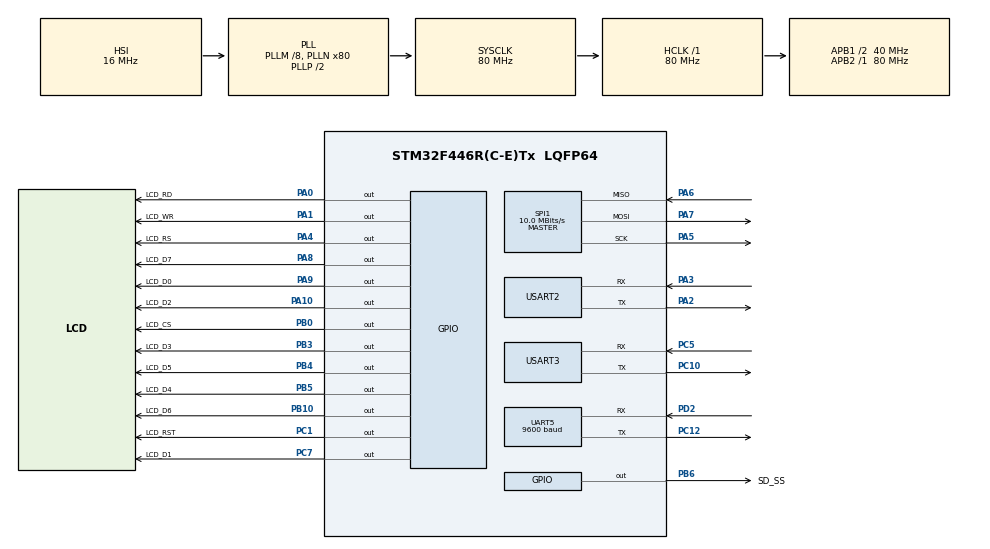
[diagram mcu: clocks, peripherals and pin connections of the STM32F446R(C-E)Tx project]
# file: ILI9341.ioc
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FATFS._MAX_SS=4096
FATFS._USE_LFN=1
Mcu.Family=STM32F4
Mcu.Name=STM32F446R(C-E)Tx
Mcu.Package=LQFP64
NVIC.PriorityGroup=NVIC_PRIORITYGROUP_4
NVIC.UART5_IRQn=true\:0\:0\:false\:false\:true\:true\:true\:true
NVIC.USART2_IRQn=true\:0\:0\:false\:false\:true\:true\:true\:true
NVIC.USART3_IRQn=true\:0\:0\:false\:false\:true\:true\:true\:true
PA0-WKUP.GPIO_Label=LCD_RD
PA0-WKUP.GPIO_Speed=GPIO_SPEED_FREQ_HIGH
PA0-WKUP.Signal=GPIO_Output
PA1.GPIO_Label=LCD_WR
PA1.GPIO_Speed=GPIO_SPEED_FREQ_HIGH
PA1.Signal=GPIO_Output
PA10.GPIO_Label=LCD_D2
PA10.GPIO_Speed=GPIO_SPEED_FREQ_HIGH
PA10.Signal=GPIO_Output
PA13.Mode=Serial_Wire
PA13.Signal=SYS_JTMS-SWDIO
PA14.Mode=Serial_Wire
PA14.Signal=SYS_JTCK-SWCLK
PA2.Mode=Asynchronous
PA2.Signal=USART2_TX
PA3.Mode=Asynchronous
PA3.Signal=USART2_RX
PA4.GPIO_Label=LCD_RS
PA4.GPIO_Speed=GPIO_SPEED_FREQ_HIGH
PA4.Signal=GPIO_Output
PA5.Mode=Full_Duplex_Master
PA5.Signal=SPI1_SCK
PA6.Mode=Full_Duplex_Master
PA6.Signal=SPI1_MISO
PA7.Mode=Full_Duplex_Master
PA7.Signal=SPI1_MOSI
PA8.GPIO_Label=LCD_D7
PA8.GPIO_Speed=GPIO_SPEED_FREQ_HIGH
PA8.Signal=GPIO_Output
PA9.GPIO_Label=LCD_D0
PA9.GPIO_Speed=GPIO_SPEED_FREQ_HIGH
PA9.Signal=GPIO_Output
PB0.GPIO_Label=LCD_CS
PB0.GPIO_Speed=GPIO_SPEED_FREQ_HIGH
PB0.Signal=GPIO_Output
PB10.GPIO_Label=LCD_D6
PB10.GPIO_Speed=GPIO_SPEED_FREQ_HIGH
PB10.Signal=GPIO_Output
PB3.GPIO_Label=LCD_D3
PB3.GPIO_Speed=GPIO_SPEED_FREQ_HIGH
PB3.Signal=GPIO_Output
PB4.GPIO_Label=LCD_D5
PB4.GPIO_Speed=GPIO_SPEED_FREQ_HIGH
PB4.Signal=GPIO_Output
PB5.GPIO_Label=LCD_D4
PB5.GPIO_Speed=GPIO_SPEED_FREQ_HIGH
PB5.Signal=GPIO_Output
PB6.GPIO_Label=SD_SS
PB6.GPIO_Speed=GPIO_SPEED_FREQ_MEDIUM
PB6.PinState=GPIO_PIN_SET
PB6.Signal=GPIO_Output
PC1.GPIO_Label=LCD_RST
PC1.GPIO_Speed=GPIO_SPEED_FREQ_HIGH
PC1.Signal=GPIO_Output
PC10.Mode=Asynchronous
PC10.Signal=USART3_TX
PC12.Mode=Asynchronous
PC12.Signal=UART5_TX
PC5.Mode=Asynchronous
PC5.Signal=USART3_RX
PC7.GPIO_Label=LCD_D1
PC7.GPIO_Speed=GPIO_SPEED_FREQ_HIGH
PC7.Signal=GPIO_Output
PD2.Mode=Asynchronous
PD2.Signal=UART5_RX
PH0-OSC_IN.Mode=HSE-External-Oscillator
PH0-OSC_IN.Signal=RCC_OSC_IN
PH1-OSC_OUT.Mode=HSE-External-Oscillator
PH1-OSC_OUT.Signal=RCC_OSC_OUT
ProjectManager.HeapSize=0x200
ProjectManager.StackSize=0x400
ProjectManager.TargetToolchain=STM32CubeIDE
RCC.AHBFreq_Value=80000000
RCC.APB1CLKDivider=RCC_HCLK_DIV2
RCC.APB1Freq_Value=40000000
RCC.APB1TimFreq_Value=80000000
RCC.APB2Freq_Value=80000000
RCC.APB2TimFreq_Value=80000000
RCC.CortexFreq_Value=80000000
RCC.HCLKFreq_Value=80000000
RCC.PLLM=8
RCC.PLLN=80
RCC.SYSCLKFreq_VALUE=80000000
RCC.SYSCLKSource=RCC_SYSCLKSOURCE_PLLCLK
RCC.USBFreq_Value=80000000
RCC.VCOOutputFreq_Value=160000000
SPI1.BaudRatePrescaler=SPI_BAUDRATEPRESCALER_8
SPI1.CalculateBaudRate=10.0 MBits/s
SPI1.Direction=SPI_DIRECTION_2LINES
SPI1.Mode=SPI_MODE_MASTER
SPI1.VirtualType=VM_MASTER
UART5.BaudRate=9600
UART5.VirtualMode=Asynchronous
USART2.VirtualMode=VM_ASYNC
USART3.VirtualMode=VM_ASYNC
VP_FATFS_VS_Generic.Mode=User_defined
board=custom

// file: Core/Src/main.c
/* USER CODE BEGIN Header */
/**
 ******************************************************************************
 * @file           : main.c
 * @brief          : Main program body
 ******************************************************************************
 * @attention
 *
 * Copyright (c) 2024 STMicroelectronics.
 * All rights reserved.
 *
 * This software is licensed under terms that can be found in the LICENSE file
 * in the root directory of this software component.
 * If no LICENSE file comes with this software, it is provided AS-IS.
 *
 ******************************************************************************
 */
/* USER CODE END Header */
#include "main.h"
#include "fatfs.h"

/* USER CODE BEGIN Includes */
#include "ili9341.h"
#include "bitmaps.h"
#include "string.h"
#include "stdio.h"
/* USER CODE END Includes */

/* USER CODE BEGIN PD */
SPI_HandleTypeDef hspi1;
FATFS fs;
FATFS *pfs;
FIL fil;
FRESULT fres;
/* USER CODE END PD */

SPI_HandleTypeDef hspi1;

UART_HandleTypeDef huart5;
UART_HandleTypeDef huart2;
UART_HandleTypeDef huart3;

/* USER CODE BEGIN PV */
uint8_t option[1];
uint8_t tx_buffer[20];
extern uint8_t fondo[];
int incremento = 0;
int y_incre = 0;
int decremento = 1;
int wh1 = 0;
int wh2 = 0;
int win = 0;
int lo = 0;

#define IMAGE_SIZE 9968 //
uint8_t image[IMAGE_SIZE];  // Variable para almacenar los datos de la imagen

#define IMAGE_SIZE2 12716 //
uint8_t image2[IMAGE_SIZE2];  // Variable para almacenar los datos de la imagen
/* USER CODE END PV */

void SystemClock_Config(void);
static void MX_GPIO_Init(void);
static void MX_SPI1_Init(void);
static void MX_USART2_UART_Init(void);
static void MX_USART3_UART_Init(void);
static void MX_UART5_Init(void);

/* USER CODE BEGIN 0 */
int load_image_from_sd_to_play(const char* filename);
int load_image_from_sd_to_play2(const char* filename);
/* USER CODE END 0 */

int main(void)
{

  /* USER CODE BEGIN 1 */
int time = 0;
int time1 = -160;

int uni = 0;
int dec = 0;

int b = 0;

int y = -30;
int y1 = 40;
int yp = 110;

int z = 0;
int i = 0;

int GO = 0;
int punt = 0;

int posu[11] = {-50,-25,-10,50 ,-30,0  ,15,-50 ,10,35, -50};
int posd[11] = {20 ,50 ,10 ,-20,10,-40,-30,-10,50,-30,50};

// Montar SD

   fres = f_mount(&fs,"/" , 0);
   if(fres == FR_OK){
   //   transmit_uart("Micro SD is mounted successfully\n\n\n\n");
   } else {
    //   transmit_uart("Micro SD is mounted bad\n\n\n\n");
	   }

  /* USER CODE END 1 */

  /* MCU Configuration--------------------------------------------------------*/

  /* Reset of all peripherals, Initializes the Flash interface and the Systick. */
  HAL_Init();

  /* Configure the system clock */
  SystemClock_Config();

  /* Initialize all configured peripherals */
  MX_GPIO_Init();
  MX_SPI1_Init();
  MX_USART2_UART_Init();
  MX_USART3_UART_Init();
  MX_FATFS_Init();
  MX_UART5_Init();
  /* USER CODE BEGIN 2 */
  HAL_UART_Receive_IT(&huart3, option, 1);  // EMPEZAR RECEPCIÓN
  HAL_UART_Receive_IT(&huart5, option, 1);  // EMPEZAR RECEPCIÓN

	LCD_Init();

	LCD_Clear(0x00);
	FillRect(0, 0, 319, 239, 0x0000);

	LCD_Sprite(68, 20, 184, 50, titulo1, 1, 0, 0, 1);
	LCD_Sprite(68, 110, 184, 50, titulo2, 1, 0, 0, 1);
	LCD_Sprite(100, 190, 116, 20, titulo3, 1, 0, 0, 1);

	  //LCD_Print("FUCK YOU BITCH", 20, 100, 1, 0x001F, 0xCAB9);

  /* USER CODE END 2 */

  /* Infinite loop */
  /* USER CODE BEGIN WHILE */
	while (1) {
		// Aumentar la velocidad de las tuberías

		while(wh1 == 1){

				LCD_Sprite(15, 30, 290, 25, cuan, 1, 0, 0, 1);
				LCD_Sprite(10, 110, 232, 12, p1, 1, 0, 0, 1);
				LCD_Sprite(10, 160, 285, 12, p2, 1, 0, 0, 1);

				while(wh2 == 1){
					wh1 = 0;
					time = time + 5;  // Incremento ajustado para mayor velocidad
					time1 = time1 + 5;  // Incremento ajustado para mayor velocidad

					b++;

					// TUBERIA
					FillRect(330-time, 151-y, 5, 90+y, 0x07E0);
					FillRect(330-time, 161-y, 5, 5, 0x0000);
					FillRect(365-time, 151-y, 5, 90+y, 0x0000);

					FillRect(330-time, 0, 5, 75-y, 0x07E0);
					FillRect(330-time, 60-y, 5, 5, 0x0000);
					FillRect(365-time, 0, 5, 75-y, 0x0000);

					FillRect(330-time1, 151-y1, 5, 90+y1, 0x07E0);
					FillRect(330-time1, 161-y1, 5, 5, 0x0000);
					FillRect(365-time1, 151-y1, 5, 90+y1, 0x0000);

					FillRect(330-time1, 0, 5, 75-y1, 0x07E0);
					FillRect(330-time1, 60-y1, 5, 5, 0x0000);
					FillRect(365-time1, 0, 5, 75-y1, 0x0000);
					// Reiniciar las tuberías cuando ya no se vean en la pantalla
					if(time >= 375){  // Ajuste del valor límite para evitar cortes
						time = 0;  // Reiniciar de forma continua y suave
						i++;
					y = posu[i];
					};

					if(time1 >= 375){  // Ajuste del valor límite para evitar cortes
						time1 = 0;  // Reiniciar de forma continua y suave
						z++;
						y1 = posd[z];
					};
					if(i == 10){
						i = 0;
					};
					if(z == 10){
						z = 0;
					};
									// Control de la animación del pájaro
					if(b == 2){
						b = 0;
					};

					LCD_Sprite(75, yp, 40, 30, bird40x30, 3, b, 0, 1);

					yp = yp+incremento;
										if(y_incre == 1){
											incremento++;

											if (decremento == 0){
												FillRect(75, yp+30, 40, 15, 0x0000);
											}else if (decremento == 1){
												FillRect(75, yp-30, 40, 27, 0x0000);
											}
											if(incremento == 0){
												decremento = 1;
											}
											if(yp >= 183){
												incremento = 0;
												y_incre = 0;
												yp = 183;
											}
										}

					// Detectar cuando las tuberías están en la misma posición que el pájaro
					if(time == 275){
						uni = uni + 1;
						transmit_uart3("s");
					};
					if(time1 == 275){
						uni = uni + 1;
					};
					if(uni == 10){
						uni = 0;
						dec = dec + 1;
					};
					LCD_Sprite(276, 0, 26, 39, num26x39, 10, uni, 0, 1);
					LCD_Sprite(250, 0, 26, 39, num26x39, 10, dec, 0, 1);

					if(time <= 245 && time >= 215 ){
						if(yp <= (60-y) || yp >= (170+y)){

							GO = 1;
							punt = uni + dec*10;

							wh2 = 0;
						};
					};
					if(time1 <= 245 && time1 >= 215 ){
						if(yp <= (60-y1) || yp >= (170+y1)){

							punt = uni + dec*10;
							GO = 1;
							wh2 = 0;
						};
					};
				}
		}
		if(GO == 1){
			FillRect(0, 0, 319, 239, 0x0000);
			switch (punt) {
										        case 0:
										            transmit_uart3("M: 0");
										            break;
										        case 1:
										            transmit_uart3("M: 1");
										            break;
										        case 2:
										            transmit_uart3("M: 2");
										            break;
										        case 3:
										            transmit_uart3("M: 3");
										            break;
										        case 4:
										            transmit_uart3("M: 4");
										            break;
										        case 5:
										            transmit_uart3("M: 5");
										            break;
										        case 6:
										            transmit_uart3("M: 6");
										            break;
										        case 7:
										            transmit_uart3("M: 7");
										            break;
										        case 8:
										            transmit_uart3("M: 8");
										            break;
										        case 9:
										            transmit_uart3("M: 9");
										            break;
										        case 10:
										            transmit_uart3("M: 10");
										            break;
										        case 11:
										            transmit_uart3("M: 11");
										            break;
										        case 12:
										            transmit_uart3("M: 12");
										            break;
										        case 13:
										            transmit_uart3("M: 13");
										            break;
										        case 14:
										            transmit_uart3("M: 14");
										            break;
										        case 15:
										            transmit_uart3("M: 15");
										            break;
										        case 16:
										            transmit_uart3("M: 16");
										            break;
										        case 17:
										            transmit_uart3("M: 17");
										            break;
										        case 18:
										            transmit_uart3("M: 18");
										            break;
										        case 19:
										            transmit_uart3("M: 19");
										            break;
										        case 20:
										            transmit_uart3("M: 20");
										            break;
										        case 21:
										            transmit_uart3("M: 21");
										            break;
										        case 22:
										            transmit_uart3("M: 22");
										            break;
										        case 23:
										            transmit_uart3("M: 23");
										            break;
										        case 24:
										            transmit_uart3("M: 24");
										            break;
										        case 25:
										            transmit_uart3("M: 25");
										            break;
										        case 26:
										            transmit_uart3("M: 26");
										            break;
										        case 27:
										            transmit_uart3("M: 27");
										            break;
										        case 28:
										            transmit_uart3("M: 28");
										            break;
										        case 29:
										            transmit_uart3("M: 29");
										            break;
										        case 30:
										        	transmit_uart3("M: 30");
										            break;
										        default:
										            break;
			}
			GO = 0;
		};
		if(win == 1){
			 if (load_image_from_sd_to_play("winner.bin")) {
				LCD_Sprite(71, 106, 178, 28, image, 1, 0, 0, 1);
				}
		};
		if(lo == 1){
			 if (load_image_from_sd_to_play2("loser.bin")) {
				LCD_Sprite(66, 103, 187, 34, image2, 1, 0, 0, 1);
			 	 }
		};
    /* USER CODE END WHILE */

  }
}

void SystemClock_Config(void)
{
  RCC_OscInitTypeDef RCC_OscInitStruct = {0};
  RCC_ClkInitTypeDef RCC_ClkInitStruct = {0};

  /** Configure the main internal regulator output voltage
  */
  __HAL_RCC_PWR_CLK_ENABLE();
  __HAL_PWR_VOLTAGESCALING_CONFIG(PWR_REGULATOR_VOLTAGE_SCALE3);

  /** Initializes the RCC Oscillators according to the specified parameters
  * in the RCC_OscInitTypeDef structure.
  */
  RCC_OscInitStruct.OscillatorType = RCC_OSCILLATORTYPE_HSI;
  RCC_OscInitStruct.HSIState = RCC_HSI_ON;
  RCC_OscInitStruct.HSICalibrationValue = RCC_HSICALIBRATION_DEFAULT;
  RCC_OscInitStruct.PLL.PLLState = RCC_PLL_ON;
  RCC_OscInitStruct.PLL.PLLSource = RCC_PLLSOURCE_HSI;
  RCC_OscInitStruct.PLL.PLLM = 8;
  RCC_OscInitStruct.PLL.PLLN = 80;
  RCC_OscInitStruct.PLL.PLLP = RCC_PLLP_DIV2;
  RCC_OscInitStruct.PLL.PLLQ = 2;
  RCC_OscInitStruct.PLL.PLLR = 2;
  if (HAL_RCC_OscConfig(&RCC_OscInitStruct) != HAL_OK)
  {
    Error_Handler();
  }

  /** Initializes the CPU, AHB and APB buses clocks
  */
  RCC_ClkInitStruct.ClockType = RCC_CLOCKTYPE_HCLK|RCC_CLOCKTYPE_SYSCLK
                              |RCC_CLOCKTYPE_PCLK1|RCC_CLOCKTYPE_PCLK2;
  RCC_ClkInitStruct.SYSCLKSource = RCC_SYSCLKSOURCE_PLLCLK;
  RCC_ClkInitStruct.AHBCLKDivider = RCC_SYSCLK_DIV1;
  RCC_ClkInitStruct.APB1CLKDivider = RCC_HCLK_DIV2;
  RCC_ClkInitStruct.APB2CLKDivider = RCC_HCLK_DIV1;

  if (HAL_RCC_ClockConfig(&RCC_ClkInitStruct, FLASH_LATENCY_2) != HAL_OK)
  {
    Error_Handler();
  }
}

static void MX_SPI1_Init(void)
{

  /* SPI1 parameter configuration*/
  hspi1.Instance = SPI1;
  hspi1.Init.Mode = SPI_MODE_MASTER;
  hspi1.Init.Direction = SPI_DIRECTION_2LINES;
  hspi1.Init.DataSize = SPI_DATASIZE_8BIT;
  hspi1.Init.CLKPolarity = SPI_POLARITY_LOW;
  hspi1.Init.CLKPhase = SPI_PHASE_1EDGE;
  hspi1.Init.NSS = SPI_NSS_SOFT;
  hspi1.Init.BaudRatePrescaler = SPI_BAUDRATEPRESCALER_8;
  hspi1.Init.FirstBit = SPI_FIRSTBIT_MSB;
  hspi1.Init.TIMode = SPI_TIMODE_DISABLE;
  hspi1.Init.CRCCalculation = SPI_CRCCALCULATION_DISABLE;
  hspi1.Init.CRCPolynomial = 10;
  if (HAL_SPI_Init(&hspi1) != HAL_OK)
  {
    Error_Handler();
  }

}

static void MX_UART5_Init(void)
{

  huart5.Instance = UART5;
  huart5.Init.BaudRate = 9600;
  huart5.Init.WordLength = UART_WORDLENGTH_8B;
  huart5.Init.StopBits = UART_STOPBITS_1;
  huart5.Init.Parity = UART_PARITY_NONE;
  huart5.Init.Mode = UART_MODE_TX_RX;
  huart5.Init.HwFlowCtl = UART_HWCONTROL_NONE;
  huart5.Init.OverSampling = UART_OVERSAMPLING_16;
  if (HAL_UART_Init(&huart5) != HAL_OK)
  {
    Error_Handler();
  }

}

static void MX_USART2_UART_Init(void)
{

  huart2.Instance = USART2;
  huart2.Init.BaudRate = 9600;
  huart2.Init.WordLength = UART_WORDLENGTH_8B;
  huart2.Init.StopBits = UART_STOPBITS_1;
  huart2.Init.Parity = UART_PARITY_NONE;
  huart2.Init.Mode = UART_MODE_TX_RX;
  huart2.Init.HwFlowCtl = UART_HWCONTROL_NONE;
  huart2.Init.OverSampling = UART_OVERSAMPLING_16;
  if (HAL_UART_Init(&huart2) != HAL_OK)
  {
    Error_Handler();
  }

}

static void MX_USART3_UART_Init(void)
{

  huart3.Instance = USART3;
  huart3.Init.BaudRate = 9600;
  huart3.Init.WordLength = UART_WORDLENGTH_8B;
  huart3.Init.StopBits = UART_STOPBITS_1;
  huart3.Init.Parity = UART_PARITY_NONE;
  huart3.Init.Mode = UART_MODE_TX_RX;
  huart3.Init.HwFlowCtl = UART_HWCONTROL_NONE;
  huart3.Init.OverSampling = UART_OVERSAMPLING_16;
  if (HAL_UART_Init(&huart3) != HAL_OK)
  {
    Error_Handler();
  }

}

static void MX_GPIO_Init(void)
{
  GPIO_InitTypeDef GPIO_InitStruct = {0};

  /* GPIO Ports Clock Enable */
  __HAL_RCC_GPIOH_CLK_ENABLE();
  __HAL_RCC_GPIOC_CLK_ENABLE();
  __HAL_RCC_GPIOA_CLK_ENABLE();
  __HAL_RCC_GPIOB_CLK_ENABLE();
  __HAL_RCC_GPIOD_CLK_ENABLE();

  /*Configure GPIO pin Output Level */
  HAL_GPIO_WritePin(GPIOC, LCD_RST_Pin|LCD_D1_Pin, GPIO_PIN_RESET);

  /*Configure GPIO pin Output Level */
  HAL_GPIO_WritePin(GPIOA, LCD_RD_Pin|LCD_WR_Pin|LCD_RS_Pin|LCD_D7_Pin
                          |LCD_D0_Pin|LCD_D2_Pin, GPIO_PIN_RESET);

  /*Configure GPIO pin Output Level */
  HAL_GPIO_WritePin(GPIOB, LCD_CS_Pin|LCD_D6_Pin|LCD_D3_Pin|LCD_D5_Pin
                          |LCD_D4_Pin, GPIO_PIN_RESET);

  /*Configure GPIO pin Output Level */
  HAL_GPIO_WritePin(SD_SS_GPIO_Port, SD_SS_Pin, GPIO_PIN_SET);

  /*Configure GPIO pins : LCD_RST_Pin LCD_D1_Pin */
  GPIO_InitStruct.Pin = LCD_RST_Pin|LCD_D1_Pin;
  GPIO_InitStruct.Mode = GPIO_MODE_OUTPUT_PP;
  GPIO_InitStruct.Pull = GPIO_NOPULL;
  GPIO_InitStruct.Speed = GPIO_SPEED_FREQ_HIGH;
  HAL_GPIO_Init(GPIOC, &GPIO_InitStruct);

  /*Configure GPIO pins : LCD_RD_Pin LCD_WR_Pin LCD_RS_Pin LCD_D7_Pin
                           LCD_D0_Pin LCD_D2_Pin */
  GPIO_InitStruct.Pin = LCD_RD_Pin|LCD_WR_Pin|LCD_RS_Pin|LCD_D7_Pin
                          |LCD_D0_Pin|LCD_D2_Pin;
  GPIO_InitStruct.Mode = GPIO_MODE_OUTPUT_PP;
  GPIO_InitStruct.Pull = GPIO_NOPULL;
  GPIO_InitStruct.Speed = GPIO_SPEED_FREQ_HIGH;
  HAL_GPIO_Init(GPIOA, &GPIO_InitStruct);

  /*Configure GPIO pins : LCD_CS_Pin LCD_D6_Pin LCD_D3_Pin LCD_D5_Pin
                           LCD_D4_Pin */
  GPIO_InitStruct.Pin = LCD_CS_Pin|LCD_D6_Pin|LCD_D3_Pin|LCD_D5_Pin
                          |LCD_D4_Pin;
  GPIO_InitStruct.Mode = GPIO_MODE_OUTPUT_PP;
  GPIO_InitStruct.Pull = GPIO_NOPULL;
  GPIO_InitStruct.Speed = GPIO_SPEED_FREQ_HIGH;
  HAL_GPIO_Init(GPIOB, &GPIO_InitStruct);

  /*Configure GPIO pin : SD_SS_Pin */
  GPIO_InitStruct.Pin = SD_SS_Pin;
  GPIO_InitStruct.Mode = GPIO_MODE_OUTPUT_PP;
  GPIO_InitStruct.Pull = GPIO_NOPULL;
  GPIO_InitStruct.Speed = GPIO_SPEED_FREQ_MEDIUM;
  HAL_GPIO_Init(SD_SS_GPIO_Port, &GPIO_InitStruct);

}

/* USER CODE BEGIN 4 */
int load_image_from_sd_to_play(const char* filename) {
    FIL fil;
    UINT bytes_read;
    FRESULT fres;

    // Abrir el archivo desde la SD
    fres = f_open(&fil, filename, FA_READ);
    if (fres != FR_OK) {
      //  transmit_uart("Error al abrir el archivo en la SD\n");
        return 0;  // Error al abrir el archivo
    }

    // Leer los datos del archivo y almacenarlos en la variable play
    fres = f_read(&fil, image, IMAGE_SIZE, &bytes_read);
    if (fres != FR_OK || bytes_read == 0) {
      //  transmit_uart("Error al leer la imagen desde la SD\n");
        f_close(&fil);
        return 0;  // Error al leer el archivo
    }

    // Cerrar el archivo
    f_close(&fil);
   // transmit_uart("Imagen cargada correctamente desde la SD a la variable play\n");
    return 1;
}
int load_image_from_sd_to_play2(const char* filename) {
    FIL fil;
    UINT bytes_read;
    FRESULT fres;

    // Abrir el archivo desde la SD
    fres = f_open(&fil, filename, FA_READ);
    if (fres != FR_OK) {
      //  transmit_uart("Error al abrir el archivo en la SD\n");
        return 0;  // Error al abrir el archivo
    }

    // Leer los datos del archivo y almacenarlos en la variable play
    fres = f_read(&fil, image2, IMAGE_SIZE2, &bytes_read);
    if (fres != FR_OK || bytes_read == 0) {
      //  transmit_uart("Error al leer la imagen desde la SD\n");
        f_close(&fil);
        return 0;  // Error al leer el archivo
    }

    // Cerrar el archivo
    f_close(&fil);
   // transmit_uart("Imagen cargada correctamente desde la SD a la variable play\n");
    return 1;
}

void transmit_uart3(char *message){
	HAL_UART_Transmit(&huart3, (uint8_t*)message, strlen(message), HAL_MAX_DELAY);
}

  void HAL_UART_RxCpltCallback(UART_HandleTypeDef *huart){
	  if(huart->Instance == UART5){

	    		  switch (option[0]){

	    		  case 'M':
	    			  win = 1;
	    			  lo = 0;
	    			  transmit_uart3("r");
	    			  break;
	    		  case 'h':
	    			  lo = 1;
	    			  win= 0;
	    			  transmit_uart3("R");
	    			  break;
	    		  default:
	    			  break;
	    		  }

	    		  HAL_UART_Transmit(&huart5, tx_buffer, strlen(tx_buffer), 10);
	    	  	  HAL_UART_Receive_IT(&huart5, option, 1);

	    	  }

	  if(huart->Instance == USART3){

		  switch (option[0]){
		  case 'w':
			//strcpy(tx_buffer, "w");
			incremento= -8;
			y_incre = 1;
			decremento= 0;
			transmit_uart3("p");
			break;

		  case 'a':
			  wh1 = 1;
			  LCD_Clear(0x00);
			  FillRect(0, 0, 319, 239, 0x0000);
			  break;

		  case 'b':
			  wh2 = 1;
			  LCD_Clear(0x00);
			  FillRect(0, 0, 319, 239, 0x0000);
			  break;
		  case 'c':
			  wh2 = 1;
			  LCD_Clear(0x00);
			  FillRect(0, 0, 319, 239, 0x0000);
			  transmit_uart3("f");
			  break;

		  default:
			  break;
		  }

		  HAL_UART_Transmit(&huart3, tx_buffer, strlen(tx_buffer), 10);
	  	  HAL_UART_Receive_IT(&huart3, option, 1);

	  }
  }

  void transmit_uart5(char *message){
  	HAL_UART_Transmit(&huart5, (uint8_t*)message, strlen(message), HAL_MAX_DELAY);
  }
  void transmit_uart2(char *message){
  	HAL_UART_Transmit(&huart2, (uint8_t*)message, strlen(message), HAL_MAX_DELAY);
  }

/* USER CODE END 4 */

void Error_Handler(void)
{
	__disable_irq();
	while (1) {
	}
}
